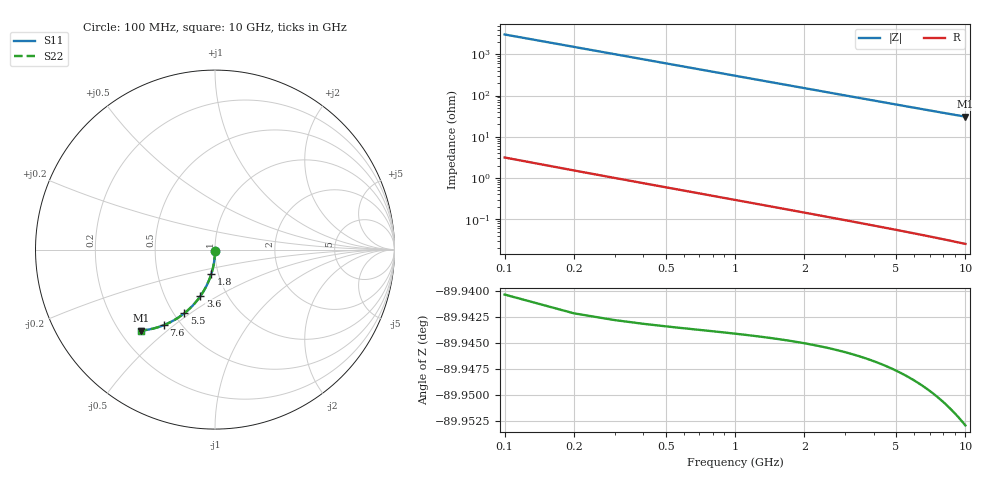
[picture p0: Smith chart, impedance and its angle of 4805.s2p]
# Hz S RI R 50.00
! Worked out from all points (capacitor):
!   100 points, 100 MHz to 10 GHz, reference 50 ohm
!   read as one part in shunt: C = 525 fF near 100 MHz
!   lowest |Z| = 30.8 ohm at 10 GHz (marker M1)
!   S11 on the Smith chart (normalised r, x): 100 MHz: 1.00, -0.02; 1.8 GHz: 0.92, -0.26; 3.6 GHz: 0.75, -0.42; 5.5 GHz: 0.56, -0.47; 7.6 GHz: 0.41, -0.46; 10 GHz: 0.29, -0.41
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1e8  0.000135 -0.00785  0.9997 -0.00865  0.9997 -0.00865  0.000135 -0.00785
2e8  -7.54e-05 -0.0157  0.9995 -0.0173  0.9995 -0.0173  -7.54e-05 -0.0157
3e8  -0.000421 -0.0235  0.9991 -0.0259  0.9991 -0.0259  -0.000421 -0.0235
4e8  -0.000903 -0.0313  0.9987 -0.0346  0.9987 -0.0346  -0.000903 -0.0313
5e8  -0.00152 -0.0392  0.998 -0.0432  0.998 -0.0432  -0.00152 -0.0392
6e8  -0.00227 -0.047  0.9973 -0.0518  0.9973 -0.0518  -0.00227 -0.047
8e8  -0.00417 -0.0625  0.9954 -0.0689  0.9954 -0.0689  -0.00417 -0.0625
1.1e9  -0.00802 -0.0856  0.9915 -0.0944  0.9915 -0.0944  -0.00802 -0.0856
1.4e9  -0.013 -0.1084  0.9865 -0.1196  0.9865 -0.1196  -0.013 -0.1084
1.8e9  -0.0215 -0.1381  0.978 -0.1525  0.978 -0.1525  -0.0215 -0.1381
2.1e9  -0.029 -0.1598  0.9704 -0.1767  0.9704 -0.1767  -0.029 -0.1598
2.5e9  -0.0408 -0.1879  0.9586 -0.208  0.9586 -0.208  -0.0408 -0.1879
2.9e9  -0.0541 -0.2149  0.9451 -0.2382  0.9451 -0.2382  -0.0541 -0.2149
3.4e9  -0.0731 -0.2468  0.9261 -0.2741  0.9261 -0.2741  -0.0731 -0.2468
3.6e9  -0.0812 -0.2589  0.9179 -0.2878  0.9179 -0.2878  -0.0812 -0.2589
4.3e9  -0.1122 -0.2985  0.8867 -0.3331  0.8867 -0.3331  -0.1122 -0.2985
5.1e9  -0.1513 -0.3379  0.8474 -0.379  0.8474 -0.379  -0.1513 -0.3379
5.5e9  -0.1719 -0.3552  0.8267 -0.3996  0.8267 -0.3996  -0.1719 -0.3552
6.7e9  -0.2363 -0.3978  0.7618 -0.4519  0.7618 -0.4519  -0.2363 -0.3978
7.6e9  -0.2854 -0.4209  0.7122 -0.4824  0.7122 -0.4824  -0.2854 -0.4209
8.4e9  -0.3287 -0.4356  0.6685 -0.5038  0.6685 -0.5038  -0.3287 -0.4356
1e10  -0.4114 -0.4511  0.5848 -0.5327  0.5848 -0.5327  -0.4114 -0.4511
